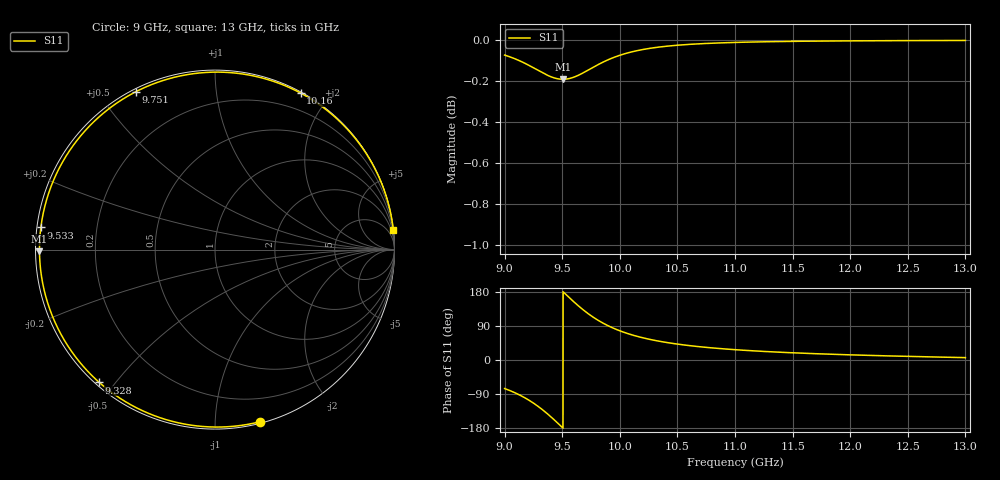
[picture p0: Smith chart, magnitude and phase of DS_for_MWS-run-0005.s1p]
! TOUCHSTONE file generated by CST DESIGN STUDIO
! Date and time: Tue Feb  4 17:40:29 2025
! Project name: C:\Work\MatlabApps\UnitCellOptimizationMatlab\CST\unitcell.cst
! Tree item: Tasks\Sweep1\SPara1\S-Parameters
! Header version: 2024
! Port assignment regex: !\s*Touchstone port\s*([0-9]+)\s*=\s*(CST MWS port|CST DES external port|CST DES block port)\s*(.+)\s* \(\"(.*)\"\)(\s*mode\s*([0-9]+))?.*
! Touchstone port assignment:
! Touchstone port 1 = CST DES external port 1 ("")
# GHz S MA R 50
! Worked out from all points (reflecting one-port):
!   4001 points, 9 GHz to 13 GHz, reference 50 ohm
!   lowest |S11| = -0.2 dB at 9.506 GHz (marker M1), VSWR 89.96, Z = 0.556 - j0.241 ohm
!   phase of S11 starts at -75 deg and turns -278 deg over the sweep
!   S11 on the Smith chart (normalised r, x): 9 GHz: 0.01, -1.30; 9.328 GHz: 0.01, -0.46; 9.533 GHz: 0.01, +0.06; 9.751 GHz: 0.01, +0.62; 10.16 GHz: 0.01, +1.69; 13 GHz: 0, +18
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9  0.9914 -75.3
9.087  0.9894 -86.1
9.189  0.9864 -102.1
9.261  0.984 -116.0
9.328  0.9816 -131.0
9.374  0.9802 -142.6
9.422  0.9789 -155.5
9.462  0.9783 -166.8
9.5  0.978 -177.7
9.506  0.978 -179.4
9.533  0.9781 172.7
9.587  0.9789 157.4
9.647  0.9804 141.2
9.698  0.9821 128.6
9.751  0.984 116.7
9.803  0.9858 106.4
9.859  0.9876 96.5
10  0.9912 77.0
10.079  0.9927 68.7
10.164  0.994 61.3
10.317  0.9956 50.9
10.5  0.9968 42.0
10.722  0.9977 34.1
11  0.9984 27.2
11.5  0.999 19.0
12  0.9993 13.6
12.5  0.9994 9.6
13  0.9995 6.3
